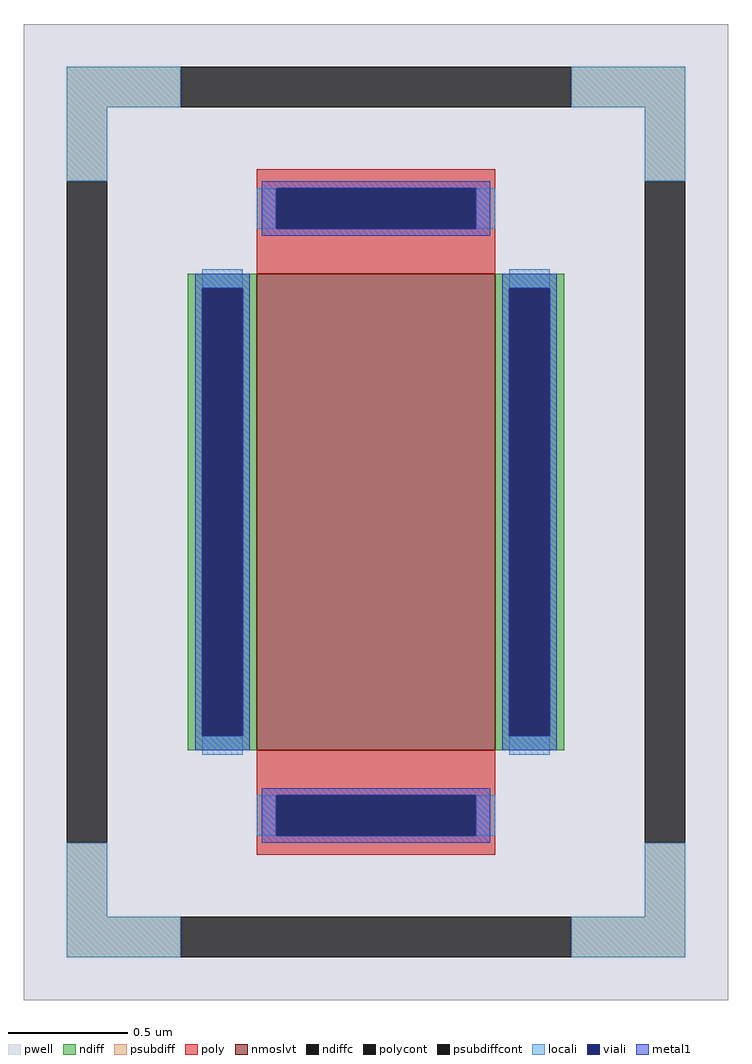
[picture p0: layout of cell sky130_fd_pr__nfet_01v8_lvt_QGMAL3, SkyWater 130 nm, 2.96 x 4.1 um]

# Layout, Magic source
magic
tech sky130A
<< pwell >>
rect -148 -205 148 205
<< nmoslvt >>
rect -50 -100 50 100
<< ndiff >>
rect -79 94 -50 100
rect -79 -94 -73 94
rect -56 -94 -50 94
rect -79 -100 -50 -94
rect 50 94 79 100
rect 50 -94 56 94
rect 73 -94 79 94
rect 50 -100 79 -94
<< ndiffc >>
rect -73 -94 -56 94
rect 56 -94 73 94
<< psubdiff >>
rect -130 170 -82 187
rect 82 170 130 187
rect -130 139 -113 170
rect 113 139 130 170
rect -130 -170 -113 -139
rect 113 -170 130 -139
rect -130 -187 -82 -170
rect 82 -187 130 -170
<< psubdiffcont >>
rect -82 170 82 187
rect -130 -139 -113 139
rect 113 -139 130 139
rect -82 -187 82 -170
<< poly >>
rect -50 136 50 144
rect -50 119 -42 136
rect 42 119 50 136
rect -50 100 50 119
rect -50 -119 50 -100
rect -50 -136 -42 -119
rect 42 -136 50 -119
rect -50 -144 50 -136
<< polycont >>
rect -42 119 42 136
rect -42 -136 42 -119
<< locali >>
rect -130 170 -82 187
rect 82 170 130 187
rect -130 139 -113 170
rect 113 139 130 170
rect -50 119 -42 136
rect 42 119 50 136
rect -73 94 -56 102
rect -73 -102 -56 -94
rect 56 94 73 102
rect 56 -102 73 -94
rect -50 -136 -42 -119
rect 42 -136 50 -119
rect -130 -170 -113 -139
rect 113 -170 130 -139
rect -130 -187 -82 -170
rect 82 -187 130 -170
<< viali >>
rect -42 119 42 136
rect -73 -94 -56 94
rect 56 -94 73 94
rect -42 -136 42 -119
<< metal1 >>
rect -48 136 48 139
rect -48 119 -42 136
rect 42 119 48 136
rect -48 116 48 119
rect -76 94 -53 100
rect -76 -94 -73 94
rect -56 -94 -53 94
rect -76 -100 -53 -94
rect 53 94 76 100
rect 53 -94 56 94
rect 73 -94 76 94
rect 53 -100 76 -94
rect -48 -119 48 -116
rect -48 -136 -42 -119
rect 42 -136 48 -119
rect -48 -139 48 -136
<< properties >>
string FIXED_BBOX -121 -178 121 178
string gencell sky130_fd_pr__nfet_01v8_lvt
string library sky130
string parameters w 2.0 l 1.0 m 1 nf 1 diffcov 100 polycov 100 guard 1 glc 1 grc 1 gtc 1 gbc 1 tbcov 100 rlcov 100 topc 1 botc 1 poverlap 0 doverlap 1 lmin 0.15 wmin 0.42 compatible {sky130_fd_pr__nfet_01v8 sky130_fd_pr__nfet_01v8_lvt  sky130_fd_bs_flash__special_sonosfet_star  sky130_fd_pr__nfet_g5v0d10v5 sky130_fd_pr__nfet_05v0_nvt  sky130_fd_pr__nfet_03v3_nvt} full_metal 1 viasrc 100 viadrn 100 viagate 100 viagb 0 viagr 0 viagl 0 viagt 0
<< end >>
